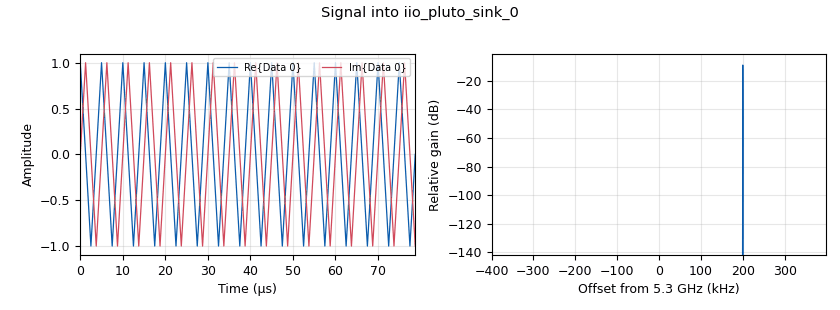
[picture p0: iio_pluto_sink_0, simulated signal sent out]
options:
  parameters:
    generate_options: qt_gui
    id: Example1
    output_language: python
    title: Not titled yet
  states: {}

blocks:
- name: Amp
  id: variable_qtgui_range
  parameters:
    start: '0.001'
    step: '0.01'
    stop: '1'
    value: '0.001'
  states: {}
- name: LOFreq
  id: variable
  parameters:
    value: int(5.3e9)
  states: {}
- name: Tx_att
  id: variable_qtgui_range
  parameters:
    rangeType: int
    start: '0'
    step: '10'
    stop: '70'
    value: '0'
  states: {}
- name: samp_rate
  id: variable
  parameters:
    value: '800000'
  states: {}
- name: analog_sig_source_x_0
  id: analog_sig_source_x
  parameters:
    amp: '1'
    freq: '200000'
    offset: '0'
    phase: '0'
    samp_rate: samp_rate
    type: complex
    waveform: analog.GR_COS_WAVE
  states: {}
- name: iio_pluto_sink_0
  id: iio_pluto_sink
  parameters:
    attenuation1: Tx_att
    bandwidth: '20000000'
    buffer_size: '32768'
    cyclic: 'True'
    filter_source: '''Auto'''
    frequency: LOFreq
    samplerate: samp_rate
    type: fc32
    uri: usb:1.10.5
  states: {}
- name: iio_pluto_source_0
  id: iio_pluto_source
  parameters:
    bandwidth: '20000000'
    bbdc: 'True'
    buffer_size: '32768'
    filter_source: '''Auto'''
    frequency: LOFreq
    gain1: '''manual'''
    manual_gain1: '0'
    quadrature: 'True'
    rfdc: 'True'
    samplerate: samp_rate
    type: fc32
    uri: usb:1.10.5
  states: {}
- name: qtgui_sink_x_0
  id: qtgui_sink_x
  parameters:
    bw: samp_rate
    fc: LOFreq
    fftsize: '2048'
    name: ''
    plotconst: 'False'
    plotwaterfall: 'False'
    type: complex
  states: {}

connections:
- [analog_sig_source_x_0, '0', iio_pluto_sink_0, '0']
- [iio_pluto_source_0, '0', qtgui_sink_x_0, '0']

metadata:
  file_format: 1
  grc_version: 3.10.10.0
